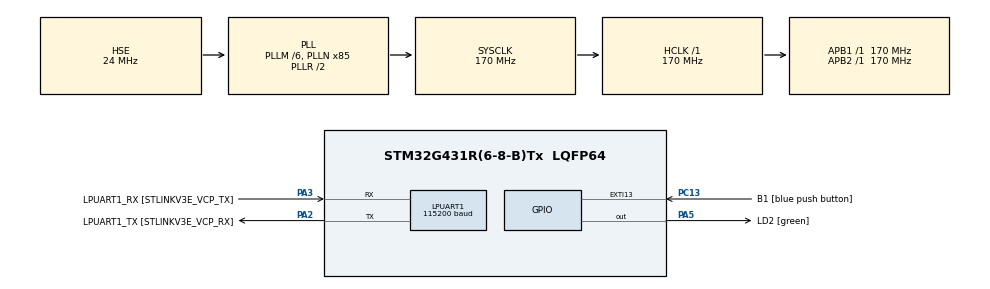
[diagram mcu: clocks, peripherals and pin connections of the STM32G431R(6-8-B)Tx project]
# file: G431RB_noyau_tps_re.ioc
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FREERTOS.Tasks01=defaultTask,0,128,StartDefaultTask,Default,NULL,Dynamic,NULL,NULL
FREERTOS.configCHECK_FOR_STACK_OVERFLOW=2
FREERTOS.configGENERATE_RUN_TIME_STATS=1
FREERTOS.configTOTAL_HEAP_SIZE=8192
FREERTOS.configUSE_STATS_FORMATTING_FUNCTIONS=1
FREERTOS.configUSE_TRACE_FACILITY=1
LPUART1.BaudRate=115200
LPUART1.WordLength=UART_WORDLENGTH_8B
Mcu.Family=STM32G4
Mcu.Name=STM32G431R(6-8-B)Tx
Mcu.Package=LQFP64
NVIC.EXTI15_10_IRQn=true\:5\:0\:false\:false\:true\:true\:true\:true\:true
NVIC.LPUART1_IRQn=true\:5\:0\:false\:false\:true\:true\:true\:true\:true
NVIC.PriorityGroup=NVIC_PRIORITYGROUP_4
NVIC.TIM6_DAC_IRQn=true\:15\:0\:false\:false\:true\:false\:false\:true\:true
NVIC.TIM7_IRQn=true\:5\:0\:false\:false\:true\:true\:true\:true\:true
NVIC.TimeBase=TIM6_DAC_IRQn
NVIC.TimeBaseIP=TIM6
PA13.GPIO_Label=T_SWDIO
PA13.Mode=Serial_Wire
PA13.Signal=SYS_JTMS-SWDIO
PA14.GPIO_Label=T_SWCLK
PA14.Mode=Serial_Wire
PA14.Signal=SYS_JTCK-SWCLK
PA2.GPIO_Label=LPUART1_TX [STLINKV3E_VCP_RX]
PA2.Mode=Asynchronous
PA2.Signal=LPUART1_TX
PA3.GPIO_Label=LPUART1_RX [STLINKV3E_VCP_TX]
PA3.Mode=Asynchronous
PA3.Signal=LPUART1_RX
PA5.GPIO_Label=LD2 [green]
PA5.Signal=GPIO_Output
PB3.GPIO_Label=T_SWO
PB3.Signal=SYS_JTDO-SWO
PC13.GPIO_Label=B1 [blue push button]
PC13.Signal=GPXTI13
PC14-OSC32_IN.Mode=LSE-External-Oscillator
PC14-OSC32_IN.Signal=RCC_OSC32_IN
PC15-OSC32_OUT.Mode=LSE-External-Oscillator
PC15-OSC32_OUT.Signal=RCC_OSC32_OUT
PF0-OSC_IN.Mode=HSE-External-Oscillator
PF0-OSC_IN.Signal=RCC_OSC_IN
PF1-OSC_OUT.Mode=HSE-External-Oscillator
PF1-OSC_OUT.Signal=RCC_OSC_OUT
ProjectManager.HeapSize=0x200
ProjectManager.StackSize=0x400
ProjectManager.TargetToolchain=STM32CubeIDE
RCC.ADC12Freq_Value=170000000
RCC.AHBFreq_Value=170000000
RCC.APB1Freq_Value=170000000
RCC.APB1TimFreq_Value=170000000
RCC.APB2Freq_Value=170000000
RCC.APB2TimFreq_Value=170000000
RCC.CortexFreq_Value=170000000
RCC.EXTERNAL_CLOCK_VALUE=12288000
RCC.HCLKFreq_Value=170000000
RCC.HSE_VALUE=24000000
RCC.HSI48_VALUE=48000000
RCC.HSI_VALUE=16000000
RCC.PLLM=RCC_PLLM_DIV6
RCC.PLLN=85
RCC.PLLSourceVirtual=RCC_PLLSOURCE_HSE
RCC.RTCClockSelection=RCC_RTCCLKSOURCE_LSE
RCC.SYSCLKFreq_VALUE=170000000
RCC.SYSCLKSource=RCC_SYSCLKSOURCE_PLLCLK
RCC.USBFreq_Value=170000000
RCC.VCOOutputFreq_Value=340000000
TIM2.Prescaler=170-1
TIM7.PeriodNoDither=1000-1
TIM7.Prescaler=17000-1
VP_FREERTOS_VS_CMSIS_V1.Mode=CMSIS_V1
VP_SYS_VS_DBSignals.Mode=DisableDeadBatterySignals
VP_SYS_VS_tim6.Mode=TIM6
VP_TIM2_VS_ClockSourceINT.Mode=Internal
VP_TIM7_VS_ClockSourceINT.Mode=Enable_Timer
board=NUCLEO-G431RB

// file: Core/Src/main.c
/* USER CODE BEGIN Header */
/**
 ******************************************************************************
 * @file           : main.c
 * @brief          : Main program body
 ******************************************************************************
 * @attention
 *
 * Copyright (c) 2023 STMicroelectronics.
 * All rights reserved.
 *
 * This software is licensed under terms that can be found in the LICENSE file
 * in the root directory of this software component.
 * If no LICENSE file comes with this software, it is provided AS-IS.
 *
 ******************************************************************************
 */
/* USER CODE END Header */
#include "main.h"
#include "cmsis_os.h"
#include "usart.h"
#include "tim.h"
#include "gpio.h"

/* USER CODE BEGIN Includes */
#include <stdio.h>
#include <string.h>
/* USER CODE END Includes */

/* USER CODE BEGIN PD */
#define DEFAULT_STACK_SIZE 260
#define DEFAULT_TASK_PRIORITY 1

/* USER CODE END PD */

/* USER CODE BEGIN PV */

SemaphoreHandle_t sem_timer7 = NULL;
TaskHandle_t h_task_led = NULL;
QueueHandle_t smolQueue = NULL;

/* USER CODE END PV */

void SystemClock_Config(void);
void MX_FREERTOS_Init(void);
/* USER CODE BEGIN PFP */

int __io_putchar(int ch)
{
	HAL_UART_Transmit(&hlpuart1, (uint8_t *)&ch, 1, HAL_MAX_DELAY);
	return ch;
}

void task_led_toggle(void * unused)
{
	HAL_TIM_Base_Start_IT(&htim7);
	uint16_t queueBuffer;
	printf("task led ok\r\n");
	for(;;){
		printf("Led before toggled\r\n");
		xQueueReceive(smolQueue, (void *) &queueBuffer, 100);
		printf("val timer : %03d\r\n",queueBuffer);
		//ulTaskNotifyTake(pdTRUE, 1000);
		/*if( xSemaphoreTake(sem_timer7, 1000) == pdFALSE)
		{
			HAL_NVIC_SystemReset();
		}*/
		HAL_GPIO_TogglePin(LD2_GPIO_Port, LD2_Pin);
		printf("Led toggled\r\n");
	}
}

void task_100ms(void * unused)
{
	printf("task 100ms ok\r\n");
	for(;;){
		printf("before giving\r\n");
		vTaskDelay(100);		//delay qui permet de lancer une autre tache
		if(xQueueSend(smolQueue,(void *) &TIM7->CNT,100) == errQUEUE_FULL)
		{
			printf("Queue full \r\n");
			Error_Handler();
		}
		//xTaskNotifyGive(h_task_led);
		//xSemaphoreGive(sem_timer7);
		printf("After giving\r\n");
	}
}

void timer_led_irq_handler_cb(void)
{
	BaseType_t xHigherPriorityTaskToken = pdFALSE;
	xSemaphoreGiveFromISR(sem_timer7, &xHigherPriorityTaskToken);
	portYIELD_FROM_ISR(xHigherPriorityTaskToken);
}

void vApplicationStackOverflowHook(xTaskHandle xTask, signed char *pcTaskName)
{
	HAL_GPIO_TogglePin(LD2_GPIO_Port, LD2_Pin);
}

void configureTimerForRunTimeStats(void)
{
	HAL_TIM_Base_Start(&htim2);
}

unsigned long getRunTimeCounterValue(void)
{
	unsigned long counterValue = TIM2->CNT;
	//TIM2->CNT = 0;
	return counterValue;
}

/* USER CODE END PFP */

int main(void)
{

  /* MCU Configuration--------------------------------------------------------*/

  /* Reset of all peripherals, Initializes the Flash interface and the Systick. */
  HAL_Init();

  /* Configure the system clock */
  SystemClock_Config();

  /* Initialize all configured peripherals */
  MX_GPIO_Init();
  MX_LPUART1_UART_Init();
  MX_TIM7_Init();
  MX_TIM2_Init();
  /* USER CODE BEGIN 2 */
	smolQueue = xQueueCreate(10, 2);
	if(smolQueue == NULL)
	{
		printf("Could not create queue \r\n");
		Error_Handler();
	}
	sem_timer7 = xSemaphoreCreateBinary();
	BaseType_t ret;
	ret = xTaskCreate(task_led_toggle, "LED", DEFAULT_STACK_SIZE, NULL, DEFAULT_TASK_PRIORITY, &h_task_led);
	if(ret != pdPASS)
	{
		printf("Could not create task led \r\n");
		Error_Handler();
	}

	TaskHandle_t h_task_delay = NULL;
	ret = xTaskCreate(task_100ms, "DELAY", DEFAULT_STACK_SIZE, NULL, DEFAULT_TASK_PRIORITY + 1, &h_task_delay);
	if(ret != pdPASS)
	{
		printf("Could not create task delay \r\n");
		Error_Handler();
	}

	vTaskStartScheduler();

  /* USER CODE END 2 */

  /* Call init function for freertos objects (in freertos.c) */
  MX_FREERTOS_Init();

  /* Start scheduler */
  osKernelStart();

  /* We should never get here as control is now taken by the scheduler */
  /* Infinite loop */
	while (1)
	{

	}
}

void SystemClock_Config(void)
{
  RCC_OscInitTypeDef RCC_OscInitStruct = {0};
  RCC_ClkInitTypeDef RCC_ClkInitStruct = {0};

  /** Configure the main internal regulator output voltage
  */
  HAL_PWREx_ControlVoltageScaling(PWR_REGULATOR_VOLTAGE_SCALE1_BOOST);

  /** Initializes the RCC Oscillators according to the specified parameters
  * in the RCC_OscInitTypeDef structure.
  */
  RCC_OscInitStruct.OscillatorType = RCC_OSCILLATORTYPE_HSE;
  RCC_OscInitStruct.HSEState = RCC_HSE_ON;
  RCC_OscInitStruct.PLL.PLLState = RCC_PLL_ON;
  RCC_OscInitStruct.PLL.PLLSource = RCC_PLLSOURCE_HSE;
  RCC_OscInitStruct.PLL.PLLM = RCC_PLLM_DIV6;
  RCC_OscInitStruct.PLL.PLLN = 85;
  RCC_OscInitStruct.PLL.PLLP = RCC_PLLP_DIV2;
  RCC_OscInitStruct.PLL.PLLQ = RCC_PLLQ_DIV2;
  RCC_OscInitStruct.PLL.PLLR = RCC_PLLR_DIV2;
  if (HAL_RCC_OscConfig(&RCC_OscInitStruct) != HAL_OK)
  {
    Error_Handler();
  }

  /** Initializes the CPU, AHB and APB buses clocks
  */
  RCC_ClkInitStruct.ClockType = RCC_CLOCKTYPE_HCLK|RCC_CLOCKTYPE_SYSCLK
                              |RCC_CLOCKTYPE_PCLK1|RCC_CLOCKTYPE_PCLK2;
  RCC_ClkInitStruct.SYSCLKSource = RCC_SYSCLKSOURCE_PLLCLK;
  RCC_ClkInitStruct.AHBCLKDivider = RCC_SYSCLK_DIV1;
  RCC_ClkInitStruct.APB1CLKDivider = RCC_HCLK_DIV1;
  RCC_ClkInitStruct.APB2CLKDivider = RCC_HCLK_DIV1;

  if (HAL_RCC_ClockConfig(&RCC_ClkInitStruct, FLASH_LATENCY_4) != HAL_OK)
  {
    Error_Handler();
  }
}

void HAL_TIM_PeriodElapsedCallback(TIM_HandleTypeDef *htim)
{
  /* USER CODE BEGIN Callback 0 */
	if (htim->Instance == TIM7) {
		//timer_led_irq_handler_cb();
	}
  /* USER CODE END Callback 0 */
  if (htim->Instance == TIM6) {
    HAL_IncTick();
  }
}

void Error_Handler(void)
{
	__disable_irq();
	while (1)
	{
	}
}

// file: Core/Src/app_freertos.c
/* USER CODE BEGIN Header */
/**
  ******************************************************************************
  * File Name          : app_freertos.c
  * Description        : Code for freertos applications
  ******************************************************************************
  * @attention
  *
  * Copyright (c) 2023 STMicroelectronics.
  * All rights reserved.
  *
  * This software is licensed under terms that can be found in the LICENSE file
  * in the root directory of this software component.
  * If no LICENSE file comes with this software, it is provided AS-IS.
  *
  ******************************************************************************
  */
/* USER CODE END Header */

#include "FreeRTOS.h"
#include "task.h"
#include "main.h"
#include "cmsis_os.h"

osThreadId defaultTaskHandle;

void StartDefaultTask(void const * argument);

void MX_FREERTOS_Init(void); /* (MISRA C 2004 rule 8.1) */

/* Hook prototypes */
void configureTimerForRunTimeStats(void);
unsigned long getRunTimeCounterValue(void);
void vApplicationStackOverflowHook(xTaskHandle xTask, signed char *pcTaskName);

/* USER CODE BEGIN 1 */
/* Functions needed when configGENERATE_RUN_TIME_STATS is on */
__weak void configureTimerForRunTimeStats(void)
{

}

__weak unsigned long getRunTimeCounterValue(void)
{
return 0;
}
/* USER CODE END 1 */

/* USER CODE BEGIN 4 */
__weak void vApplicationStackOverflowHook(xTaskHandle xTask, signed char *pcTaskName)
{
   /* Run time stack overflow checking is performed if
   configCHECK_FOR_STACK_OVERFLOW is defined to 1 or 2. This hook function is
   called if a stack overflow is detected. */
}
/* USER CODE END 4 */

void MX_FREERTOS_Init(void) {

  /* Create the thread(s) */
  /* definition and creation of defaultTask */
  osThreadDef(defaultTask, StartDefaultTask, osPriorityNormal, 0, 128);
  defaultTaskHandle = osThreadCreate(osThread(defaultTask), NULL);

}

void StartDefaultTask(void const * argument)
{
  for(;;)
  {
    osDelay(1);
  }
}
